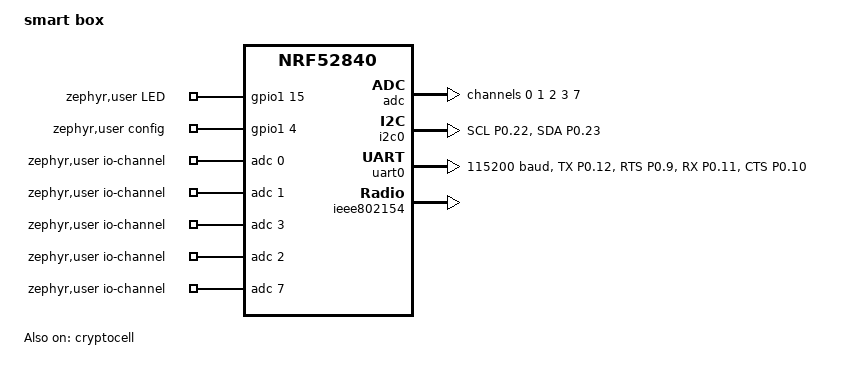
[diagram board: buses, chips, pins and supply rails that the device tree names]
// Copyright (c) 2024 Nordic Semiconductor ASA
// SPDX-License-Identifier: Apache-2.0

/dts-v1/;
#include <nordic/nrf52840_qfaa.dtsi>

/ {
	model = "smart box";
	compatible = "smart-box";

	chosen {
		zephyr,console = &uart0;
		zephyr,shell-uart = &uart0;
		zephyr,uart-mcumgr = &uart0;
		zephyr,bt-mon-uart = &uart0;
		zephyr,bt-c2h-uart = &uart0;
		zephyr,sram = &sram0;
		zephyr,flash = &flash0;
		zephyr,code-partition = &slot0_partition;
		zephyr,ieee802154 = &ieee802154;

	};

	zephyr,user {
		LED-gpios = <&gpio1 15 0>;
		config-gpios = <&gpio1 4 GPIO_PULL_DOWN>;
		io-channels = <&adc 0>, <&adc 1>, <&adc 3>, <&adc 2>, <&adc 7>;
	};
};

&adc {
	#address-cells = <1>;
	#size-cells = <0>;

	status="okay";

	channel@0 {
		reg = <0>;
		zephyr,gain = "ADC_GAIN_1_6";
		zephyr,reference = "ADC_REF_INTERNAL";
		zephyr,acquisition-time = <0>;
		zephyr,input-positive = <NRF_SAADC_AIN0>; /* P0.03 */
		zephyr,resolution = <12>;
	};

	channel@1 {
		reg = <1>;
		zephyr,gain = "ADC_GAIN_1_6";
		zephyr,reference = "ADC_REF_INTERNAL";
		zephyr,acquisition-time = <0>;
		zephyr,input-positive = <NRF_SAADC_AIN1>;
		zephyr,resolution = <14>;
		zephyr,oversampling = <8>;
	};
	
	channel@2 {
		reg = <2>;
		zephyr,gain = "ADC_GAIN_1_6";
		zephyr,reference = "ADC_REF_VDD_1";
		zephyr,acquisition-time = <0>;
		zephyr,input-positive = <NRF_SAADC_AIN2>;
		zephyr,resolution = <14>;
		zephyr,oversampling = <8>;
	};

	channel@3 {
		reg = <3>;
		zephyr,gain = "ADC_GAIN_1_6";
		zephyr,reference = "ADC_REF_INTERNAL";
		zephyr,vref-mv = <750>;
		zephyr,acquisition-time = <0>;
		zephyr,input-positive = <NRF_SAADC_AIN3>; /* P0.30 */
		zephyr,resolution = <12>;
	};

	channel@7 {
		reg = <7>;
		zephyr,gain = "ADC_GAIN_1_6";
		zephyr,reference = "ADC_REF_INTERNAL";
		zephyr,vref-mv = <750>;
		zephyr,acquisition-time = <0>;
		zephyr,input-positive = <NRF_SAADC_VDD>;
		zephyr,resolution = <12>;
	};
};

&flash0 {
	partitions {
		compatible = "fixed-partitions";
		#address-cells = <1>;
		#size-cells = <1>;

		boot_partition: partition@0 {
			label = "mcuboot";
			reg = <0x0 0xc000>;
		};
		slot0_partition: partition@c000 {
			label = "image-0";
			reg = <0xc000 0x77000>;
		};

		storage_partition: storage@83000 {
			reg = <0x83000 0x7d000>;
			label = "section";
		};
	};
};





&gpio0 {
	status = "okay";
};

&gpio1 {
	status = "okay";
};

&i2c0 {
	status = "okay";
	pinctrl-0 = <&i2c0_default>;
	pinctrl-names = "default";
};

&pinctrl {
		


	uart0_default: uart0_default {
		group1 {
			psels = <NRF_PSEL(UART_TX, 0, 12)>,
				<NRF_PSEL(UART_RTS, 0, 9)>;
		};
		group2 {
			psels = <NRF_PSEL(UART_RX, 0, 11)>,
				<NRF_PSEL(UART_CTS, 0, 10)>;
			bias-pull-up;
		};
	};

	i2c0_default: i2c0_default {
		group1 {
			psels = <NRF_PSEL(TWIM_SCL, 0, 22)>, <NRF_PSEL(TWIM_SDA, 0, 23)>;
			bias-pull-up;
		};
	};
};


&uart0 {
	status = "okay";
	pinctrl-0 = <&uart0_default>;
	pinctrl-names = "default";
	current-speed = <115200>;
	compatible = "nordic,nrf-uarte";
};

&ccm {
	status = "disabled";
};

&ecb {
	status = "disabled";
};

&cryptocell {
	status = "okay";
};

&power {
	status = "okay";
};

&gpiote {
	status = "okay";
};

&ieee802154 {
	status = "okay";
};
